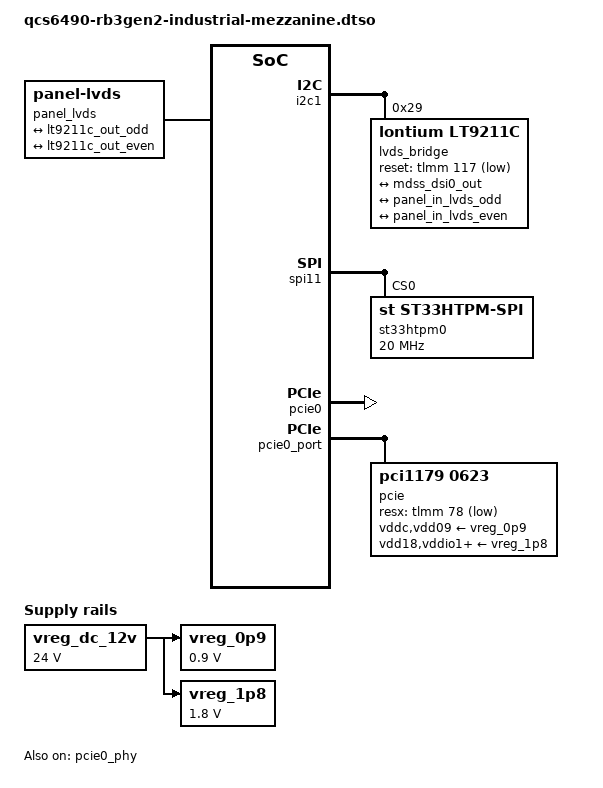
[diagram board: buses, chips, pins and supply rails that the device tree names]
// SPDX-License-Identifier: BSD-3-Clause
/*
 * Copyright (c) 2025, Qualcomm Innovation Center, Inc. All rights reserved.
*/

/dts-v1/;
/plugin/;
#include <dt-bindings/gpio/gpio.h>
#include <dt-bindings/clock/qcom,gcc-sc7280.h>
#include <dt-bindings/pinctrl/qcom,pmic-gpio.h>

/ {

	hdmi-connector {
		status = "disabled";
	};

	panel_lvds: panel-lvds@0 {
		compatible = "panel-lvds";
		data-mapping = "vesa-24";
		width-mm = <476>;
		height-mm = <268>;

		status = "okay";

		panel-timing {
			clock-frequency = <148500000>;
			hactive = <1920>;
			vactive = <1080>;
			hfront-porch = <88>;
			hback-porch = <148>;
			hsync-len = <44>;
			vfront-porch = <4>;
			vback-porch = <36>;
			vsync-len = <5>;
			de-active = <1>;
		};

		ports {
			#address-cells = <1>;
			#size-cells = <0>;

			port@0 {
				reg = <0>;

				dual-lvds-odd-pixels;
				panel_in_lvds_odd: endpoint {
					remote-endpoint = <&lt9211c_out_odd>;
				};
			};

			port@1 {
				reg = <1>;

				dual-lvds-even-pixels;
				panel_in_lvds_even: endpoint {
					remote-endpoint = <&lt9211c_out_even>;
				};

			};
		};
	};

	vreg_0p9: regulator-vreg-0p9 {
		compatible = "regulator-fixed";
		regulator-name = "VREG_0P9";
		regulator-min-microvolt = <900000>;
		regulator-max-microvolt = <900000>;

		regulator-always-on;
		regulator-boot-on;
		vin-supply = <&vreg_dc_12v>;
	};

	vreg_1p8: regulator-vreg-1p8 {
		compatible = "regulator-fixed";
		regulator-name = "VREG_1P8";
		regulator-min-microvolt = <1800000>;
		regulator-max-microvolt = <1800000>;

		regulator-always-on;
		regulator-boot-on;
		vin-supply = <&vreg_dc_12v>;
	};

	vreg_dc_12v: regulator-vreg-dc-12v {
		compatible = "regulator-fixed";
		regulator-name = "VREG_DC_12V";
		regulator-min-microvolt = <24000000>;
		regulator-max-microvolt = <24000000>;

		regulator-always-on;
		regulator-boot-on;
	};
};

&i2c1 {
	status = "okay";

	lvds_bridge: lvds-bridge@29 {
		compatible = "lontium,lt9211c";
		reg = <0x29>;
		reset-gpios = <&tlmm 117 1>;

		status = "okay";

		ports {
			#address-cells = <1>;
			#size-cells = <0>;

			port@0 {
				reg = <0>;

				lt9211c_in: endpoint {
					data-lanes = <0 1 2 3>;
					remote-endpoint = <&mdss_dsi0_out>;
				};
			};

			port@2 {
				reg = <2>;

				lt9211c_out_odd: endpoint {
					remote-endpoint = <&panel_in_lvds_odd>;
				};
			};

			port@3 {
				reg = <3>;

				lt9211c_out_even: endpoint {
					remote-endpoint = <&panel_in_lvds_even>;
				};
			};
		};
	};


};

&lt9611_codec {
	status = "disabled";
};

&mdss_dsi0_out {
	remote-endpoint = <&lt9211c_in>;
};

&spi11 {
	#address-cells = <1>;
	#size-cells = <0>;
	status = "okay";

	st33htpm0: tpm@0 {
		compatible = "st,st33htpm-spi", "tcg,tpm_tis-spi";
		reg = <0>;
		spi-max-frequency = <20000000>;
	};
};

&pcie0 {
	iommu-map = <0x0 &apps_smmu 0x1c00 0x1>,
		    <0x100 &apps_smmu 0x1c01 0x1>,
		    <0x208 &apps_smmu 0x1c04 0x1>,
		    <0x210 &apps_smmu 0x1c05 0x1>,
		    <0x218 &apps_smmu 0x1c06 0x1>,
		    <0x300 &apps_smmu 0x1c07 0x1>,
		    <0x400 &apps_smmu 0x1c08 0x1>,
		    <0x500 &apps_smmu 0x1c09 0x1>,
		    <0x501 &apps_smmu 0x1c10 0x1>;

	status = "okay";
};

&pcie0_phy {
	vdda-phy-supply = <&vreg_l10c_0p88>;
	vdda-pll-supply = <&vreg_l6b_1p2>;

	status = "okay";
};

&pcie0_port {
	#address-cells = <3>;
	#size-cells = <2>;

	pcie@0,0 {
		compatible = "pci1179,0623";
		reg = <0x10000 0x0 0x0 0x0 0x0>;
		#address-cells = <3>;
		#size-cells = <2>;

		device_type = "pci";
		ranges;
		bus-range = <0x2 0xff>;

		vddc-supply = <&vreg_0p9>;
		vdd18-supply = <&vreg_1p8>;
		vdd09-supply = <&vreg_0p9>;
		vddio1-supply = <&vreg_1p8>;
		vddio2-supply = <&vreg_1p8>;
		vddio18-supply = <&vreg_1p8>;

		i2c-parent = <&i2c1 0x77>;

		resx-gpios = <&tlmm 78 GPIO_ACTIVE_LOW>;

		pinctrl-0 = <&pcie0_tc9563_resx_n>;
		pinctrl-names = "default";

		pcie@1,0 {
			reg = <0x20800 0x0 0x0 0x0 0x0>;
			#address-cells = <3>;
			#size-cells = <2>;

			device_type = "pci";
			ranges;
			bus-range = <0x3 0xff>;
		};

		pcie@2,0 {
			reg = <0x21000 0x0 0x0 0x0 0x0>;
			#address-cells = <3>;
			#size-cells = <2>;

			device_type = "pci";
			ranges;
			bus-range = <0x4 0xff>;
		};

		pcie@3,0 {
			reg = <0x21800 0x0 0x0 0x0 0x0>;
			#address-cells = <3>;
			#size-cells = <2>;
			device_type = "pci";
			ranges;
			bus-range = <0x5 0xff>;

			pci@0,0 {
				reg = <0x50000 0x0 0x0 0x0 0x0>;
				#address-cells = <3>;
				#size-cells = <2>;
				device_type = "pci";
				ranges;
			};

			pci@0,1 {
				reg = <0x50100 0x0 0x0 0x0 0x0>;
				#address-cells = <3>;
				#size-cells = <2>;
				device_type = "pci";
				ranges;
			};
		};

	};
};

&tlmm {
	pcie0_tc9563_resx_n: pcie0-tc9563-resx-state {
		pins = "gpio78";
		function = "gpio";

		bias-disable;
		input-disable;
		output-enable;
		power-source = <0>;
	};
};
